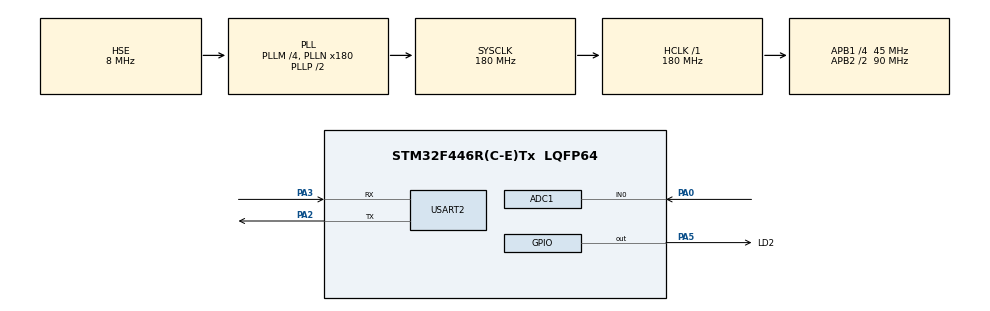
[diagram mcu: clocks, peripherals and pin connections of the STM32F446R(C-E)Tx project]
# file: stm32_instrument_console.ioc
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ADC1.Channel-0\#ChannelRegularConversion=ADC_CHANNEL_0
ADC1.Channel-1\#ChannelInjectedConversion=ADC_CHANNEL_0
ADC1.DMAContinuousRequests=ENABLE
ADC1.ExternalTrigConv=ADC_EXTERNALTRIGCONV_T2_TRGO
ADC1.InjNumberOfConversion=1
ADC1.InjectedConvMode=None
ADC1.InjectedOffset-1\#ChannelInjectedConversion=0
ADC1.InjectedRank-1\#ChannelInjectedConversion=1
ADC1.NbrOfConversion=1
ADC1.NbrOfConversionFlag=1
ADC1.Rank-0\#ChannelRegularConversion=1
ADC1.SamplingTime-0\#ChannelRegularConversion=ADC_SAMPLETIME_84CYCLES
ADC1.SamplingTime-1\#ChannelInjectedConversion=ADC_SAMPLETIME_3CYCLES
ADC1.master=1
Dma.ADC1.0.Direction=DMA_PERIPH_TO_MEMORY
Dma.ADC1.0.FIFOMode=DMA_FIFOMODE_DISABLE
Dma.ADC1.0.Instance=DMA2_Stream0
Dma.ADC1.0.MemDataAlignment=DMA_MDATAALIGN_HALFWORD
Dma.ADC1.0.MemInc=DMA_MINC_ENABLE
Dma.ADC1.0.Mode=DMA_NORMAL
Dma.ADC1.0.PeriphDataAlignment=DMA_PDATAALIGN_HALFWORD
Dma.ADC1.0.PeriphInc=DMA_PINC_DISABLE
Dma.ADC1.0.Priority=DMA_PRIORITY_LOW
Dma.Request0=ADC1
Mcu.Family=STM32F4
Mcu.Name=STM32F446R(C-E)Tx
Mcu.Package=LQFP64
NVIC.DMA2_Stream0_IRQn=true\:0\:0\:false\:false\:true\:false\:true\:true
NVIC.PriorityGroup=NVIC_PRIORITYGROUP_4
NVIC.USART2_IRQn=true\:0\:0\:false\:false\:true\:true\:true\:true
PA0-WKUP.Signal=ADCx_IN0
PA13.Mode=Serial_Wire
PA13.Signal=SYS_JTMS-SWDIO
PA14.Mode=Serial_Wire
PA14.Signal=SYS_JTCK-SWCLK
PA2.Mode=Asynchronous
PA2.Signal=USART2_TX
PA3.Mode=Asynchronous
PA3.Signal=USART2_RX
PA5.GPIO_Label=LD2
PA5.Signal=GPIO_Output
PH0-OSC_IN.Mode=HSE-External-Clock-Source
PH0-OSC_IN.Signal=RCC_OSC_IN
PH1-OSC_OUT.Mode=HSE-External-Clock-Source
PH1-OSC_OUT.Signal=RCC_OSC_OUT
ProjectManager.HeapSize=0x200
ProjectManager.StackSize=0x400
ProjectManager.TargetToolchain=STM32CubeIDE
RCC.AHBFreq_Value=180000000
RCC.APB1CLKDivider=RCC_HCLK_DIV4
RCC.APB1Freq_Value=45000000
RCC.APB1TimFreq_Value=90000000
RCC.APB2CLKDivider=RCC_HCLK_DIV2
RCC.APB2Freq_Value=90000000
RCC.APB2TimFreq_Value=180000000
RCC.CortexFreq_Value=180000000
RCC.HCLKFreq_Value=180000000
RCC.HSE_VALUE=8000000
RCC.PLLM=4
RCC.PLLN=180
RCC.PLLSourceVirtual=RCC_PLLSOURCE_HSE
RCC.SYSCLKFreq_VALUE=180000000
RCC.SYSCLKSource=RCC_SYSCLKSOURCE_PLLCLK
RCC.USBFreq_Value=180000000
RCC.VCOOutputFreq_Value=360000000
SH.ADCx_IN0.0=ADC1_IN0,IN0
TIM2.Period=999
TIM2.Prescaler=89
TIM2.TIM_MasterOutputTrigger=TIM_TRGO_UPDATE
USART2.VirtualMode=VM_ASYNC
VP_TIM2_VS_ClockSourceINT.Mode=Internal
board=custom

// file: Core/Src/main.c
/* USER CODE BEGIN Header */
/**
  ******************************************************************************
  * @file           : main.c
  * @brief          : Main program body
  ******************************************************************************
  * @attention
  *
  * Copyright (c) 2026 STMicroelectronics.
  * All rights reserved.
  *
  * This software is licensed under terms that can be found in the LICENSE file
  * in the root directory of this software component.
  * If no LICENSE file comes with this software, it is provided AS-IS.
  *
  ******************************************************************************
  */
/* USER CODE END Header */
#include "main.h"
#include "adc.h"
#include "dma.h"
#include "tim.h"
#include "usart.h"
#include "gpio.h"

/* USER CODE BEGIN Includes */

#include "adc_measurement.h"
#include "console.h"
#include "led.h"
#include "sampling_timer.h"
#include "acquisition.h"

/* USER CODE END Includes */

void SystemClock_Config(void);

int main(void)
{

  /* MCU Configuration--------------------------------------------------------*/

  /* Reset of all peripherals, Initializes the Flash interface and the Systick. */
  HAL_Init();

  /* Configure the system clock */
  SystemClock_Config();

  /* Initialize all configured peripherals */
  MX_GPIO_Init();
  MX_DMA_Init();
  MX_USART2_UART_Init();
  MX_ADC1_Init();
  MX_TIM2_Init();
  /* USER CODE BEGIN 2 */

  Sampling_TimerInit(&htim2);
  ADC_Measurement_Init(&hadc1);
  Acquisition_Init();
  LED_Init(LD2_GPIO_Port, LD2_Pin);
  Console_Init(&huart2);

  /* USER CODE END 2 */

  /* Infinite loop */
  /* USER CODE BEGIN WHILE */

  while (1)
  {
	  Acquisition_Process();
	  Console_Process();

    /* USER CODE END WHILE */

  }
}

void SystemClock_Config(void)
{
  RCC_OscInitTypeDef RCC_OscInitStruct = {0};
  RCC_ClkInitTypeDef RCC_ClkInitStruct = {0};

  /** Configure the main internal regulator output voltage
  */
  __HAL_RCC_PWR_CLK_ENABLE();
  __HAL_PWR_VOLTAGESCALING_CONFIG(PWR_REGULATOR_VOLTAGE_SCALE1);

  /** Initializes the RCC Oscillators according to the specified parameters
  * in the RCC_OscInitTypeDef structure.
  */
  RCC_OscInitStruct.OscillatorType = RCC_OSCILLATORTYPE_HSE;
  RCC_OscInitStruct.HSEState = RCC_HSE_BYPASS;
  RCC_OscInitStruct.PLL.PLLState = RCC_PLL_ON;
  RCC_OscInitStruct.PLL.PLLSource = RCC_PLLSOURCE_HSE;
  RCC_OscInitStruct.PLL.PLLM = 4;
  RCC_OscInitStruct.PLL.PLLN = 180;
  RCC_OscInitStruct.PLL.PLLP = RCC_PLLP_DIV2;
  RCC_OscInitStruct.PLL.PLLQ = 2;
  RCC_OscInitStruct.PLL.PLLR = 2;
  if (HAL_RCC_OscConfig(&RCC_OscInitStruct) != HAL_OK)
  {
    Error_Handler();
  }

  /** Activate the Over-Drive mode
  */
  if (HAL_PWREx_EnableOverDrive() != HAL_OK)
  {
    Error_Handler();
  }

  /** Initializes the CPU, AHB and APB buses clocks
  */
  RCC_ClkInitStruct.ClockType = RCC_CLOCKTYPE_HCLK|RCC_CLOCKTYPE_SYSCLK
                              |RCC_CLOCKTYPE_PCLK1|RCC_CLOCKTYPE_PCLK2;
  RCC_ClkInitStruct.SYSCLKSource = RCC_SYSCLKSOURCE_PLLCLK;
  RCC_ClkInitStruct.AHBCLKDivider = RCC_SYSCLK_DIV1;
  RCC_ClkInitStruct.APB1CLKDivider = RCC_HCLK_DIV4;
  RCC_ClkInitStruct.APB2CLKDivider = RCC_HCLK_DIV2;

  if (HAL_RCC_ClockConfig(&RCC_ClkInitStruct, FLASH_LATENCY_5) != HAL_OK)
  {
    Error_Handler();
  }
}

/* USER CODE BEGIN 4 */

void HAL_UART_RxCpltCallback(UART_HandleTypeDef *huart)
{
	Console_RxCpltCallback(huart);
}

void HAL_ADC_ConvCpltCallback(ADC_HandleTypeDef *hadc)
{
	Acquisition_ConvCpltCallback(hadc);
}

void HAL_ADC_ErrorCallback(ADC_HandleTypeDef *hadc)
{
	Acquisition_ErrorCallback(hadc);
}

/* USER CODE END 4 */

void Error_Handler(void)
{
  __disable_irq();
  while (1)
  {
  }
}
